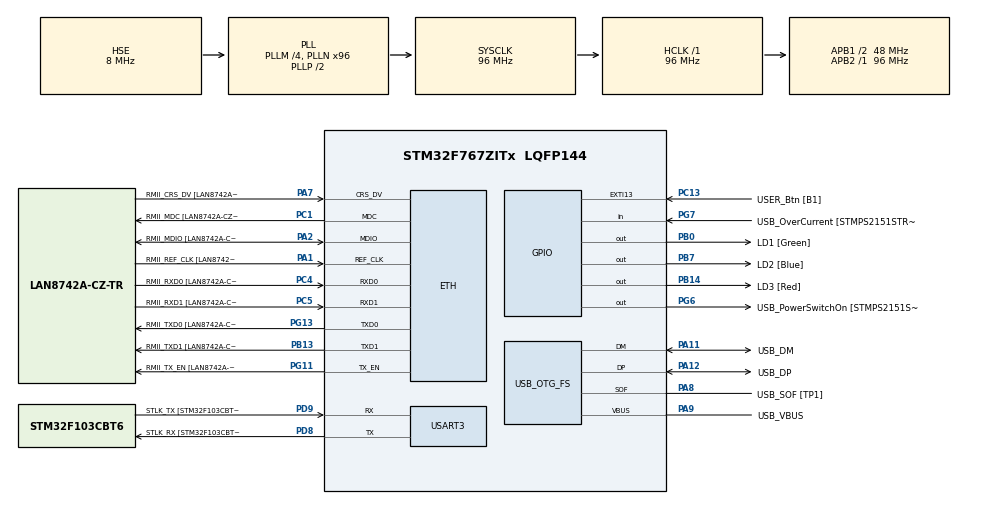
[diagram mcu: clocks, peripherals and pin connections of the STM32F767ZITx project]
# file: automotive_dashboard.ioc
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ETH.MediaInterface=HAL_ETH_RMII_MODE
ETH.PHY_Name=LAN8742A_PHY_ADDRESS
ETH.PHY_Value=0
ETH.PhyAddress=0
FREERTOS.Mutexes01=myMutex01,Dynamic,NULL
FREERTOS.Tasks01=bufferRendering,0,128,bufferRenderingTaskHook,Default,NULL,Dynamic,NULL,NULL;speedTask,0,128,speedTaskHook,Default,NULL,Dynamic,NULL,NULL;gpsTask,0,128,gpsTaskHook,Default,NULL,Dynamic,NULL,NULL;temperatureTask,0,128,temperatureTaskHook,Default,NULL,Dynamic,NULL,NULL
Mcu.Family=STM32F7
Mcu.Name=STM32F767ZITx
Mcu.Package=LQFP144
NVIC.PriorityGroup=NVIC_PRIORITYGROUP_4
NVIC.TIM1_UP_TIM10_IRQn=true\:15\:0\:false\:false\:true\:false\:false\:true\:true
NVIC.TimeBase=TIM1_UP_TIM10_IRQn
NVIC.TimeBaseIP=TIM1
PA1.GPIO_Label=RMII_REF_CLK [LAN8742A-CZ-TR_REFCLK0]
PA1.Mode=RMII
PA1.Signal=ETH_REF_CLK
PA10.GPIO_Label=USB_ID
PA10.Signal=USB_OTG_FS_ID
PA11.GPIO_Label=USB_DM
PA11.Mode=Device_Only
PA11.Signal=USB_OTG_FS_DM
PA12.GPIO_Label=USB_DP
PA12.Mode=Device_Only
PA12.Signal=USB_OTG_FS_DP
PA13.GPIO_Label=TMS
PA13.Mode=Serial_Wire
PA13.Signal=SYS_JTMS-SWDIO
PA14.GPIO_Label=TCK
PA14.Mode=Serial_Wire
PA14.Signal=SYS_JTCK-SWCLK
PA2.GPIO_Label=RMII_MDIO [LAN8742A-CZ-TR_MDIO]
PA2.Mode=RMII
PA2.Signal=ETH_MDIO
PA7.GPIO_Label=RMII_CRS_DV [LAN8742A-CZ-TR_CRS_DV]
PA7.Mode=RMII
PA7.Signal=ETH_CRS_DV
PA8.GPIO_Label=USB_SOF [TP1]
PA8.Mode=Activate_SOF_FS
PA8.Signal=USB_OTG_FS_SOF
PA9.GPIO_Label=USB_VBUS
PA9.Mode=Activate_VBUS
PA9.Signal=USB_OTG_FS_VBUS
PB0.GPIO_Label=LD1 [Green]
PB0.Signal=GPIO_Output
PB13.GPIO_Label=RMII_TXD1 [LAN8742A-CZ-TR_TXD1]
PB13.Mode=RMII
PB13.Signal=ETH_TXD1
PB14.GPIO_Label=LD3 [Red]
PB14.Signal=GPIO_Output
PB3.GPIO_Label=SWO
PB3.Signal=SYS_JTDO-SWO
PB7.GPIO_Label=LD2 [Blue]
PB7.Signal=GPIO_Output
PC1.GPIO_Label=RMII_MDC [LAN8742A-CZ-TR_MDC]
PC1.Mode=RMII
PC1.Signal=ETH_MDC
PC13.GPIO_Label=USER_Btn [B1]
PC13.Signal=GPXTI13
PC14/OSC32_IN.Mode=LSE-External-Oscillator
PC14/OSC32_IN.Signal=RCC_OSC32_IN
PC15/OSC32_OUT.Mode=LSE-External-Oscillator
PC15/OSC32_OUT.Signal=RCC_OSC32_OUT
PC4.GPIO_Label=RMII_RXD0 [LAN8742A-CZ-TR_RXD0]
PC4.Mode=RMII
PC4.Signal=ETH_RXD0
PC5.GPIO_Label=RMII_RXD1 [LAN8742A-CZ-TR_RXD1]
PC5.Mode=RMII
PC5.Signal=ETH_RXD1
PD8.GPIO_Label=STLK_RX [STM32F103CBT6_PA3]
PD8.Mode=Asynchronous
PD8.Signal=USART3_TX
PD9.GPIO_Label=STLK_TX [STM32F103CBT6_PA2]
PD9.Mode=Asynchronous
PD9.Signal=USART3_RX
PG11.GPIO_Label=RMII_TX_EN [LAN8742A-CZ-TR_TXEN]
PG11.Mode=RMII
PG11.Signal=ETH_TX_EN
PG13.GPIO_Label=RMII_TXD0 [LAN8742A-CZ-TR_TXD0]
PG13.Mode=RMII
PG13.Signal=ETH_TXD0
PG6.GPIO_Label=USB_PowerSwitchOn [STMPS2151STR_EN]
PG6.Signal=GPIO_Output
PG7.GPIO_Label=USB_OverCurrent [STMPS2151STR_FAULT]
PG7.Signal=GPIO_Input
PH0/OSC_IN.GPIO_Label=MCO [STM32F103CBT6_PA8]
PH0/OSC_IN.Mode=HSE-External-Clock-Source
PH0/OSC_IN.Signal=RCC_OSC_IN
PH1/OSC_OUT.Mode=HSE-External-Clock-Source
PH1/OSC_OUT.Signal=RCC_OSC_OUT
ProjectManager.HeapSize=0x200
ProjectManager.StackSize=0x400
ProjectManager.TargetToolchain=STM32CubeIDE
RCC.48MHZClocksFreq_Value=24000000
RCC.AHBFreq_Value=96000000
RCC.APB1CLKDivider=RCC_HCLK_DIV2
RCC.APB1Freq_Value=48000000
RCC.APB1TimFreq_Value=96000000
RCC.APB2Freq_Value=96000000
RCC.APB2TimFreq_Value=96000000
RCC.CortexFreq_Value=96000000
RCC.HCLKFreq_Value=96000000
RCC.HSE_VALUE=8000000
RCC.HSI_VALUE=16000000
RCC.PLLM=4
RCC.PLLMUL=RCC_PLL_MUL9
RCC.PLLN=96
RCC.PLLQ=4
RCC.PRESCALERUSB=RCC_USBCLKSOURCE_PLL_DIV1_5
RCC.SYSCLKFreq_VALUE=96000000
RCC.SYSCLKSource=RCC_SYSCLKSOURCE_PLLCLK
RCC.SYSCLKSourceVirtual=RCC_SYSCLKSOURCE_PLLCLK
RCC.USBFreq_Value=48000000
RCC.VCOOutputFreq_Value=192000000
USART3.VirtualMode-Asynchronous=VM_ASYNC
USB_OTG_FS.VirtualMode=Device_Only
VP_FREERTOS_VS_CMSIS_V1.Mode=CMSIS_V1
VP_SYS_VS_tim1.Mode=TIM1
board=NUCLEO-F767ZI

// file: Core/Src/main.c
/* USER CODE BEGIN Header */
/**
  ******************************************************************************
  * @file           : main.c
  * @brief          : Main program body
  ******************************************************************************
  * @attention
  *
  * Copyright (c) 2025 STMicroelectronics.
  * All rights reserved.
  *
  * This software is licensed under terms that can be found in the LICENSE file
  * in the root directory of this software component.
  * If no LICENSE file comes with this software, it is provided AS-IS.
  *
  ******************************************************************************
  */
/* USER CODE END Header */
#include "main.h"
#include "string.h"
#include "cmsis_os.h"

#if defined ( __ICCARM__ ) /*!< IAR Compiler */
#pragma location=0x2007c000
ETH_DMADescTypeDef  DMARxDscrTab[ETH_RX_DESC_CNT]; /* Ethernet Rx DMA Descriptors */
#pragma location=0x2007c0a0
ETH_DMADescTypeDef  DMATxDscrTab[ETH_TX_DESC_CNT]; /* Ethernet Tx DMA Descriptors */

#elif defined ( __CC_ARM )  /* MDK ARM Compiler */

__attribute__((at(0x2007c000))) ETH_DMADescTypeDef  DMARxDscrTab[ETH_RX_DESC_CNT]; /* Ethernet Rx DMA Descriptors */
__attribute__((at(0x2007c0a0))) ETH_DMADescTypeDef  DMATxDscrTab[ETH_TX_DESC_CNT]; /* Ethernet Tx DMA Descriptors */

#elif defined ( __GNUC__ ) /* GNU Compiler */
ETH_DMADescTypeDef DMARxDscrTab[ETH_RX_DESC_CNT] __attribute__((section(".RxDecripSection"))); /* Ethernet Rx DMA Descriptors */
ETH_DMADescTypeDef DMATxDscrTab[ETH_TX_DESC_CNT] __attribute__((section(".TxDecripSection")));   /* Ethernet Tx DMA Descriptors */

#endif

ETH_TxPacketConfig TxConfig;

ETH_HandleTypeDef heth;

UART_HandleTypeDef huart3;

PCD_HandleTypeDef hpcd_USB_OTG_FS;

osThreadId bufferRenderingHandle;
osThreadId speedTaskHandle;
osThreadId gpsTaskHandle;
osThreadId temperatureTaskHandle;
osMutexId myMutex01Handle;

void SystemClock_Config(void);
static void MX_GPIO_Init(void);
static void MX_ETH_Init(void);
static void MX_USART3_UART_Init(void);
static void MX_USB_OTG_FS_PCD_Init(void);
void bufferRenderingTaskHook(void const * argument);
void speedTaskHook(void const * argument);
void gpsTaskHook(void const * argument);
void temperatureTaskHook(void const * argument);

int main(void)
{

  /* MCU Configuration--------------------------------------------------------*/

  /* Reset of all peripherals, Initializes the Flash interface and the Systick. */
  HAL_Init();

  /* Configure the system clock */
  SystemClock_Config();

  /* Initialize all configured peripherals */
  MX_GPIO_Init();
  MX_ETH_Init();
  MX_USART3_UART_Init();
  MX_USB_OTG_FS_PCD_Init();

  /* Create the mutex(es) */
  /* definition and creation of myMutex01 */
  osMutexDef(myMutex01);
  myMutex01Handle = osMutexCreate(osMutex(myMutex01));

  /* Create the thread(s) */
  /* definition and creation of bufferRendering */
  osThreadDef(bufferRendering, bufferRenderingTaskHook, osPriorityNormal, 0, 128);
  bufferRenderingHandle = osThreadCreate(osThread(bufferRendering), NULL);

  /* definition and creation of speedTask */
  osThreadDef(speedTask, speedTaskHook, osPriorityNormal, 0, 128);
  speedTaskHandle = osThreadCreate(osThread(speedTask), NULL);

  /* definition and creation of gpsTask */
  osThreadDef(gpsTask, gpsTaskHook, osPriorityNormal, 0, 128);
  gpsTaskHandle = osThreadCreate(osThread(gpsTask), NULL);

  /* definition and creation of temperatureTask */
  osThreadDef(temperatureTask, temperatureTaskHook, osPriorityNormal, 0, 128);
  temperatureTaskHandle = osThreadCreate(osThread(temperatureTask), NULL);

  /* Start scheduler */
  osKernelStart();
  /* We should never get here as control is now taken by the scheduler */
  /* Infinite loop */
  while (1)
  {

  }
}

void SystemClock_Config(void)
{
  RCC_OscInitTypeDef RCC_OscInitStruct = {0};
  RCC_ClkInitTypeDef RCC_ClkInitStruct = {0};

  /** Configure LSE Drive Capability
  */
  HAL_PWR_EnableBkUpAccess();

  /** Configure the main internal regulator output voltage
  */
  __HAL_RCC_PWR_CLK_ENABLE();
  __HAL_PWR_VOLTAGESCALING_CONFIG(PWR_REGULATOR_VOLTAGE_SCALE3);

  /** Initializes the RCC Oscillators according to the specified parameters
  * in the RCC_OscInitTypeDef structure.
  */
  RCC_OscInitStruct.OscillatorType = RCC_OSCILLATORTYPE_HSE;
  RCC_OscInitStruct.HSEState = RCC_HSE_BYPASS;
  RCC_OscInitStruct.PLL.PLLState = RCC_PLL_ON;
  RCC_OscInitStruct.PLL.PLLSource = RCC_PLLSOURCE_HSE;
  RCC_OscInitStruct.PLL.PLLM = 4;
  RCC_OscInitStruct.PLL.PLLN = 96;
  RCC_OscInitStruct.PLL.PLLP = RCC_PLLP_DIV2;
  RCC_OscInitStruct.PLL.PLLQ = 4;
  RCC_OscInitStruct.PLL.PLLR = 2;
  if (HAL_RCC_OscConfig(&RCC_OscInitStruct) != HAL_OK)
  {
    Error_Handler();
  }

  /** Activate the Over-Drive mode
  */
  if (HAL_PWREx_EnableOverDrive() != HAL_OK)
  {
    Error_Handler();
  }

  /** Initializes the CPU, AHB and APB buses clocks
  */
  RCC_ClkInitStruct.ClockType = RCC_CLOCKTYPE_HCLK|RCC_CLOCKTYPE_SYSCLK
                              |RCC_CLOCKTYPE_PCLK1|RCC_CLOCKTYPE_PCLK2;
  RCC_ClkInitStruct.SYSCLKSource = RCC_SYSCLKSOURCE_PLLCLK;
  RCC_ClkInitStruct.AHBCLKDivider = RCC_SYSCLK_DIV1;
  RCC_ClkInitStruct.APB1CLKDivider = RCC_HCLK_DIV2;
  RCC_ClkInitStruct.APB2CLKDivider = RCC_HCLK_DIV1;

  if (HAL_RCC_ClockConfig(&RCC_ClkInitStruct, FLASH_LATENCY_3) != HAL_OK)
  {
    Error_Handler();
  }
}

static void MX_ETH_Init(void)
{

   static uint8_t MACAddr[6];

  heth.Instance = ETH;
  MACAddr[0] = 0x00;
  MACAddr[1] = 0x80;
  MACAddr[2] = 0xE1;
  MACAddr[3] = 0x00;
  MACAddr[4] = 0x00;
  MACAddr[5] = 0x00;
  heth.Init.MACAddr = &MACAddr[0];
  heth.Init.MediaInterface = HAL_ETH_RMII_MODE;
  heth.Init.TxDesc = DMATxDscrTab;
  heth.Init.RxDesc = DMARxDscrTab;
  heth.Init.RxBuffLen = 1524;

  if (HAL_ETH_Init(&heth) != HAL_OK)
  {
    Error_Handler();
  }

  memset(&TxConfig, 0 , sizeof(ETH_TxPacketConfig));
  TxConfig.Attributes = ETH_TX_PACKETS_FEATURES_CSUM | ETH_TX_PACKETS_FEATURES_CRCPAD;
  TxConfig.ChecksumCtrl = ETH_CHECKSUM_IPHDR_PAYLOAD_INSERT_PHDR_CALC;
  TxConfig.CRCPadCtrl = ETH_CRC_PAD_INSERT;

}

static void MX_USART3_UART_Init(void)
{

  huart3.Instance = USART3;
  huart3.Init.BaudRate = 115200;
  huart3.Init.WordLength = UART_WORDLENGTH_8B;
  huart3.Init.StopBits = UART_STOPBITS_1;
  huart3.Init.Parity = UART_PARITY_NONE;
  huart3.Init.Mode = UART_MODE_TX_RX;
  huart3.Init.HwFlowCtl = UART_HWCONTROL_NONE;
  huart3.Init.OverSampling = UART_OVERSAMPLING_16;
  huart3.Init.OneBitSampling = UART_ONE_BIT_SAMPLE_DISABLE;
  huart3.AdvancedInit.AdvFeatureInit = UART_ADVFEATURE_NO_INIT;
  if (HAL_UART_Init(&huart3) != HAL_OK)
  {
    Error_Handler();
  }

}

static void MX_USB_OTG_FS_PCD_Init(void)
{

  hpcd_USB_OTG_FS.Instance = USB_OTG_FS;
  hpcd_USB_OTG_FS.Init.dev_endpoints = 6;
  hpcd_USB_OTG_FS.Init.speed = PCD_SPEED_FULL;
  hpcd_USB_OTG_FS.Init.dma_enable = DISABLE;
  hpcd_USB_OTG_FS.Init.phy_itface = PCD_PHY_EMBEDDED;
  hpcd_USB_OTG_FS.Init.Sof_enable = ENABLE;
  hpcd_USB_OTG_FS.Init.low_power_enable = DISABLE;
  hpcd_USB_OTG_FS.Init.lpm_enable = DISABLE;
  hpcd_USB_OTG_FS.Init.vbus_sensing_enable = ENABLE;
  hpcd_USB_OTG_FS.Init.use_dedicated_ep1 = DISABLE;
  if (HAL_PCD_Init(&hpcd_USB_OTG_FS) != HAL_OK)
  {
    Error_Handler();
  }

}

static void MX_GPIO_Init(void)
{
  GPIO_InitTypeDef GPIO_InitStruct = {0};

  /* GPIO Ports Clock Enable */
  __HAL_RCC_GPIOC_CLK_ENABLE();
  __HAL_RCC_GPIOH_CLK_ENABLE();
  __HAL_RCC_GPIOA_CLK_ENABLE();
  __HAL_RCC_GPIOB_CLK_ENABLE();
  __HAL_RCC_GPIOD_CLK_ENABLE();
  __HAL_RCC_GPIOG_CLK_ENABLE();

  /*Configure GPIO pin Output Level */
  HAL_GPIO_WritePin(GPIOB, LD1_Pin|LD3_Pin|LD2_Pin, GPIO_PIN_RESET);

  /*Configure GPIO pin Output Level */
  HAL_GPIO_WritePin(USB_PowerSwitchOn_GPIO_Port, USB_PowerSwitchOn_Pin, GPIO_PIN_RESET);

  /*Configure GPIO pin : USER_Btn_Pin */
  GPIO_InitStruct.Pin = USER_Btn_Pin;
  GPIO_InitStruct.Mode = GPIO_MODE_IT_RISING;
  GPIO_InitStruct.Pull = GPIO_NOPULL;
  HAL_GPIO_Init(USER_Btn_GPIO_Port, &GPIO_InitStruct);

  /*Configure GPIO pins : LD1_Pin LD3_Pin LD2_Pin */
  GPIO_InitStruct.Pin = LD1_Pin|LD3_Pin|LD2_Pin;
  GPIO_InitStruct.Mode = GPIO_MODE_OUTPUT_PP;
  GPIO_InitStruct.Pull = GPIO_NOPULL;
  GPIO_InitStruct.Speed = GPIO_SPEED_FREQ_LOW;
  HAL_GPIO_Init(GPIOB, &GPIO_InitStruct);

  /*Configure GPIO pin : USB_PowerSwitchOn_Pin */
  GPIO_InitStruct.Pin = USB_PowerSwitchOn_Pin;
  GPIO_InitStruct.Mode = GPIO_MODE_OUTPUT_PP;
  GPIO_InitStruct.Pull = GPIO_NOPULL;
  GPIO_InitStruct.Speed = GPIO_SPEED_FREQ_LOW;
  HAL_GPIO_Init(USB_PowerSwitchOn_GPIO_Port, &GPIO_InitStruct);

  /*Configure GPIO pin : USB_OverCurrent_Pin */
  GPIO_InitStruct.Pin = USB_OverCurrent_Pin;
  GPIO_InitStruct.Mode = GPIO_MODE_INPUT;
  GPIO_InitStruct.Pull = GPIO_NOPULL;
  HAL_GPIO_Init(USB_OverCurrent_GPIO_Port, &GPIO_InitStruct);

}

/* USER CODE BEGIN 4 */
struct dashboard{
	int speed;
	char GPS[128];
	int temperature;
};

struct dashboard dash_buffer;

/* USER CODE END 4 */

void bufferRenderingTaskHook(void const * argument)
{
  /* USER CODE BEGIN 5 */
	TickType_t polling_ticks = pdMS_TO_TICKS(1000);
	char speed_string[5];
	char temperature_string[5];
	char gps_buffer[128];
  /* Infinite loop */
  for(;;)
  {
    vTaskDelay(polling_ticks);
    osMutexWait(myMutex01Handle, osWaitForever);
    itoa(dash_buffer.speed, speed_string, 10);
    itoa(dash_buffer.temperature, temperature_string, 10);
    strncpy(gps_buffer, dash_buffer.GPS, sizeof(gps_buffer) - 1);
    gps_buffer[sizeof(gps_buffer) - 1] = '\0'; // Ensure null-termination
    osMutexRelease(myMutex01Handle);

    HAL_UART_Transmit(&huart3, speed_string, sizeof(speed_string), 500);
    HAL_UART_Transmit(&huart3, " km/h\n", sizeof(" km/h\n"), 500);
    HAL_UART_Transmit(&huart3, temperature_string, sizeof(temperature_string), 500);
    HAL_UART_Transmit(&huart3, " Kelvin degrees\n", sizeof(" Kelvin degrees\n"), 500);
    HAL_UART_Transmit(&huart3, gps_buffer, sizeof(gps_buffer), 500);
  }
  /* USER CODE END 5 */
}

void speedTaskHook(void const * argument)
{
  /* USER CODE BEGIN speedTaskHook */
	TickType_t polling_ticks = pdMS_TO_TICKS(100);
	int speed = 0;
  /* Infinite loop */
  for(;;)
  {
    vTaskDelay(polling_ticks);
    speed = rand() % 200;
    osMutexWait(myMutex01Handle, osWaitForever);
    dash_buffer.speed = speed;
    osMutexRelease(myMutex01Handle);

  }
  /* USER CODE END speedTaskHook */
}

void gpsTaskHook(void const * argument)
{
  /* USER CODE BEGIN gpsTaskHook */
	TickType_t polling_ticks = pdMS_TO_TICKS(500);
	char gps_buffer[128];
	int time_counter = 0;
	int seconds = 0;
	int minutes = 0;
	int hours = 0;
	char seconds_string[2];
	char minutes_string[2];
	char hours_string[2];
	char time_string[7];
	int number_of_satellites;
	char satellites_string[3];
	int HDOP1;
	int HDOP2;
	char HDOP1_string[4];
	char HDOP2_string[2];
	char HDOP_string[8];
	int altitude1;
	int altitude2;
	char altitude1_string[4];
	char altitude2_string[2];
	char altitude_string[8];
	int checksum;
	char checksum_string[8];

  /* Infinite loop */
  for(;;)
  {
    vTaskDelay(polling_ticks);
    //Starts code to simulate time
    time_counter++;

    if (time_counter == 2) {
    	time_counter = 0;
		seconds++;
	}

    if (seconds == 60){
        	seconds = 0;
        	minutes++;
    }

    if (minutes == 60){
    	minutes = 0;
    	hours++;
    }

    if (hours == 24){
    	hours = 0;
    }
    //Ends code to simulate time

    //Convert time integers into a single time string
    itoa(seconds, seconds_string, 10);
    itoa(minutes, minutes_string, 10);
    itoa(hours, hours_string, 10);
    strcpy(time_string, ""); //clean time string before reload time values by concatenating
    strcat(time_string, hours_string);
    strcat(time_string, minutes_string);
    strcat(time_string, seconds_string);
    strcat(time_string, ",");//add comma for formatting

    //Generate number of satellites random value
    number_of_satellites = rand() % (10 + 1 - 3) + 3;
    strcpy(satellites_string, "");
    itoa(number_of_satellites, satellites_string, 10);
    strcat(satellites_string, ",");//add comma for formatting

    //Generate Horizontal Dilution of Precision random value
    HDOP1 = rand() % 2;
    itoa(HDOP1, HDOP1_string, 10);
    HDOP2 = rand() % 9;
    itoa(HDOP2, HDOP2_string, 10);

    strcpy(HDOP_string, "");//clear HDOP string
    strcat(HDOP_string, HDOP1_string);//concatenate integer part
    strcat(HDOP_string, ".");//concatenate floating point
    strcat(HDOP_string, HDOP2_string);//concatenate decimal part
    strcat(HDOP_string, ",");//add comma for formatting

    //Generate altitude random value
    altitude1 = rand() % 8848;
    itoa(altitude1, altitude1_string, 10);
    altitude2 = rand() % 9;
    itoa(altitude2, altitude2_string, 10);

    strcpy(altitude_string, "");// clear altitude string
    strcat(altitude_string, altitude1_string);
    strcat(altitude_string, ".");
    strcat(altitude_string, altitude2_string);
    strcat(altitude_string, ",");//add comma for formatting

    //Generate checksum random value
    checksum = rand() % 100;
    itoa(checksum, checksum_string, 10);

    //Prepare GPS buffer data before requesting shared buffer to Mutex1
    strcpy(gps_buffer, ""); //clear GPS string
    strcat(gps_buffer, "$GPGGA,"); //concatenate GPS sentence format
    strcat(gps_buffer, time_string); //concatenate simulate time
    strcat(gps_buffer, "4807.038,N,"); //concatenate N position fixed value
    strcat(gps_buffer, "01131.000,E,"); // concatenate E position fixed value
    strcat(gps_buffer, "1,"); //concatenate fix quality value
    strcat(gps_buffer, satellites_string);//concatenate number of satellites
    //strcat(gps_buffer, HDOP_string);//concatenate Horizontal Dilution of Precision value
    strcat(gps_buffer, altitude_string);//concatenate altitude value in meters
    strcat(gps_buffer, checksum_string);//concatenate checksum value
    strcat(gps_buffer, "\n");//add new line special character

    //After preparing all the necessary data, task will request dash buffer by Mutex1 to copy the updated GPS data
    osMutexWait(myMutex01Handle, osWaitForever);
    strcpy(dash_buffer.GPS, gps_buffer);
    osMutexRelease(myMutex01Handle);

  }
  /* USER CODE END gpsTaskHook */
}

void temperatureTaskHook(void const * argument)
{
  /* USER CODE BEGIN temperatureTaskHook */
	TickType_t polling_ticks = pdMS_TO_TICKS(200);
	int temperature;
  /* Infinite loop */
  for(;;)
  {
    vTaskDelay(polling_ticks);
    temperature = rand() % 400;
    osMutexWait(myMutex01Handle, osWaitForever);
    dash_buffer.temperature = temperature;
    osMutexRelease(myMutex01Handle);
  }
  /* USER CODE END temperatureTaskHook */
}

void HAL_TIM_PeriodElapsedCallback(TIM_HandleTypeDef *htim)
{
  if (htim->Instance == TIM1) {
    HAL_IncTick();
  }
}

void Error_Handler(void)
{
  __disable_irq();
  while (1)
  {
  }
}
